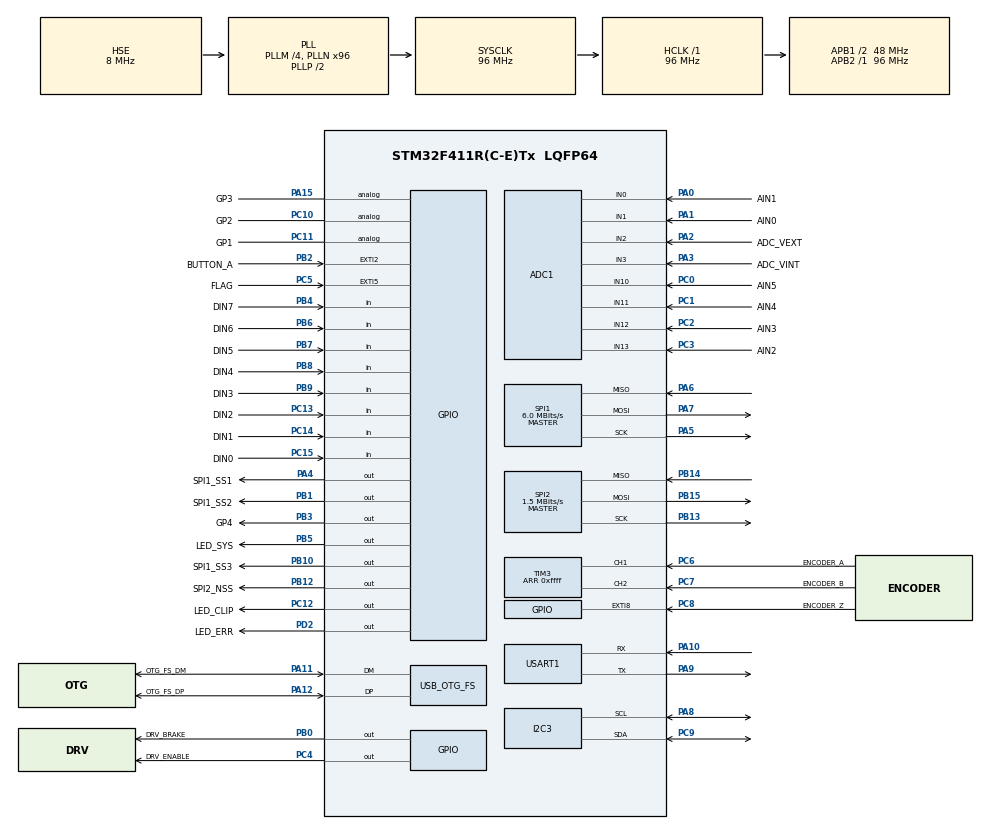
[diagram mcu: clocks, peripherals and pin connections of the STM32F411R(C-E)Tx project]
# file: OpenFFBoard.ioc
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ADC1.Channel-1\#ChannelRegularConversion=ADC_CHANNEL_1
ADC1.Channel-12\#ChannelRegularConversion=ADC_CHANNEL_TEMPSENSOR
ADC1.Channel-2\#ChannelRegularConversion=ADC_CHANNEL_0
ADC1.Channel-3\#ChannelRegularConversion=ADC_CHANNEL_13
ADC1.Channel-4\#ChannelRegularConversion=ADC_CHANNEL_12
ADC1.Channel-5\#ChannelRegularConversion=ADC_CHANNEL_11
ADC1.Channel-6\#ChannelRegularConversion=ADC_CHANNEL_10
ADC1.Channel-7\#ChannelRegularConversion=ADC_CHANNEL_2
ADC1.Channel-8\#ChannelRegularConversion=ADC_CHANNEL_3
ADC1.ContinuousConvMode=ENABLE
ADC1.DMAContinuousRequests=ENABLE
ADC1.InjNumberOfConversion=0
ADC1.NbrOfConversion=9
ADC1.Rank-1\#ChannelRegularConversion=1
ADC1.Rank-12\#ChannelRegularConversion=9
ADC1.Rank-2\#ChannelRegularConversion=2
ADC1.Rank-3\#ChannelRegularConversion=3
ADC1.Rank-4\#ChannelRegularConversion=4
ADC1.Rank-5\#ChannelRegularConversion=5
ADC1.Rank-6\#ChannelRegularConversion=6
ADC1.Rank-7\#ChannelRegularConversion=7
ADC1.Rank-8\#ChannelRegularConversion=8
ADC1.SamplingTime-1\#ChannelRegularConversion=ADC_SAMPLETIME_84CYCLES
ADC1.SamplingTime-12\#ChannelRegularConversion=ADC_SAMPLETIME_3CYCLES
ADC1.SamplingTime-2\#ChannelRegularConversion=ADC_SAMPLETIME_84CYCLES
ADC1.SamplingTime-3\#ChannelRegularConversion=ADC_SAMPLETIME_84CYCLES
ADC1.SamplingTime-4\#ChannelRegularConversion=ADC_SAMPLETIME_84CYCLES
ADC1.SamplingTime-5\#ChannelRegularConversion=ADC_SAMPLETIME_84CYCLES
ADC1.SamplingTime-6\#ChannelRegularConversion=ADC_SAMPLETIME_84CYCLES
ADC1.SamplingTime-7\#ChannelRegularConversion=ADC_SAMPLETIME_84CYCLES
ADC1.SamplingTime-8\#ChannelRegularConversion=ADC_SAMPLETIME_84CYCLES
ADC1.master=1
Dma.ADC1.0.Direction=DMA_PERIPH_TO_MEMORY
Dma.ADC1.0.FIFOMode=DMA_FIFOMODE_DISABLE
Dma.ADC1.0.Instance=DMA2_Stream0
Dma.ADC1.0.MemDataAlignment=DMA_MDATAALIGN_WORD
Dma.ADC1.0.MemInc=DMA_MINC_ENABLE
Dma.ADC1.0.Mode=DMA_CIRCULAR
Dma.ADC1.0.PeriphDataAlignment=DMA_PDATAALIGN_WORD
Dma.ADC1.0.PeriphInc=DMA_PINC_DISABLE
Dma.ADC1.0.Priority=DMA_PRIORITY_MEDIUM
Dma.Request0=ADC1
IWDG.Prescaler=IWDG_PRESCALER_16
Mcu.Family=STM32F4
Mcu.Name=STM32F411R(C-E)Tx
Mcu.Package=LQFP64
NVIC.ADC_IRQn=true\:1\:0\:true\:true\:true\:7\:true\:true
NVIC.DMA2_Stream0_IRQn=true\:0\:0\:true\:true\:true\:2\:false\:true
NVIC.EXTI2_IRQn=true\:14\:0\:true\:false\:true\:true\:true
NVIC.EXTI9_5_IRQn=true\:13\:0\:true\:true\:true\:6\:true\:true
NVIC.OTG_FS_IRQn=true\:11\:0\:true\:false\:true\:true\:true
NVIC.PriorityGroup=NVIC_PRIORITYGROUP_4
NVIC.TIM2_IRQn=true\:7\:0\:true\:true\:true\:5\:true\:true
NVIC.TIM3_IRQn=true\:4\:0\:true\:true\:true\:4\:true\:true
NVIC.TIM4_IRQn=true\:2\:0\:true\:true\:true\:3\:true\:true
NVIC.TIM5_IRQn=true\:8\:0\:true\:true\:true\:8\:true\:true
NVIC.USART1_IRQn=true\:6\:0\:true\:true\:true\:1\:true\:true
PA0-WKUP.GPIO_Label=AIN1
PA0-WKUP.Signal=ADCx_IN0
PA1.GPIO_Label=AIN0
PA1.Signal=ADCx_IN1
PA10.GPIO_PuPd=GPIO_PULLUP
PA10.Mode=Asynchronous
PA10.Signal=USART1_RX
PA11.GPIO_Label=OTG_FS_DM
PA11.Mode=Device_Only
PA11.Signal=USB_OTG_FS_DM
PA12.GPIO_Label=OTG_FS_DP
PA12.Mode=Device_Only
PA12.Signal=USB_OTG_FS_DP
PA13.GPIO_Label=SWDIO
PA13.Mode=Serial_Wire
PA13.Signal=SYS_JTMS-SWDIO
PA14.GPIO_Label=SWCLK
PA14.Mode=Serial_Wire
PA14.Signal=SYS_JTCK-SWCLK
PA15.GPIO_Label=GP3
PA15.Signal=GPIO_Analog
PA2.GPIO_Label=ADC_VEXT
PA2.Signal=ADCx_IN2
PA3.GPIO_Label=ADC_VINT
PA3.Signal=ADCx_IN3
PA4.GPIO_Label=SPI1_SS1
PA4.GPIO_Speed=GPIO_SPEED_FREQ_VERY_HIGH
PA4.PinState=GPIO_PIN_SET
PA4.Signal=GPIO_Output
PA5.Mode=Full_Duplex_Master
PA5.Signal=SPI1_SCK
PA6.GPIO_PuPd=GPIO_NOPULL
PA6.Mode=Full_Duplex_Master
PA6.Signal=SPI1_MISO
PA7.Mode=Full_Duplex_Master
PA7.Signal=SPI1_MOSI
PA8.Mode=I2C
PA8.Signal=I2C3_SCL
PA9.Mode=Asynchronous
PA9.Signal=USART1_TX
PB0.GPIO_Label=DRV_BRAKE
PB0.GPIO_PuPd=GPIO_NOPULL
PB0.GPIO_Speed=GPIO_SPEED_FREQ_MEDIUM
PB0.Signal=GPIO_Output
PB1.GPIO_Label=SPI1_SS2
PB1.GPIO_Speed=GPIO_SPEED_FREQ_VERY_HIGH
PB1.PinState=GPIO_PIN_SET
PB1.Signal=GPIO_Output
PB10.GPIO_Label=SPI1_SS3
PB10.GPIO_Speed=GPIO_SPEED_FREQ_VERY_HIGH
PB10.PinState=GPIO_PIN_SET
PB10.Signal=GPIO_Output
PB12.GPIO_Label=SPI2_NSS
PB12.GPIO_Speed=GPIO_SPEED_FREQ_HIGH
PB12.Signal=GPIO_Output
PB13.Mode=Full_Duplex_Master
PB13.Signal=SPI2_SCK
PB14.Mode=Full_Duplex_Master
PB14.Signal=SPI2_MISO
PB15.Mode=Full_Duplex_Master
PB15.Signal=SPI2_MOSI
PB2.GPIO_Label=BUTTON_A
PB2.Signal=GPXTI2
PB3.GPIO_Label=GP4
PB3.Signal=GPIO_Output
PB4.GPIO_Label=DIN7
PB4.GPIO_PuPd=GPIO_PULLUP
PB4.Signal=GPIO_Input
PB5.GPIO_Label=LED_SYS
PB5.Signal=GPIO_Output
PB6.GPIO_Label=DIN6
PB6.GPIO_PuPd=GPIO_PULLUP
PB6.Signal=GPIO_Input
PB7.GPIO_Label=DIN5
PB7.GPIO_PuPd=GPIO_PULLUP
PB7.Signal=GPIO_Input
PB8.GPIO_Label=DIN4
PB8.GPIO_PuPd=GPIO_PULLUP
PB8.Signal=GPIO_Input
PB9.GPIO_Label=DIN3
PB9.GPIO_PuPd=GPIO_PULLUP
PB9.Signal=GPIO_Input
PC0.GPIO_Label=AIN5
PC0.Signal=ADCx_IN10
PC1.GPIO_Label=AIN4
PC1.Signal=ADCx_IN11
PC10.GPIO_Label=GP2
PC10.Signal=GPIO_Analog
PC11.GPIO_Label=GP1
PC11.Signal=GPIO_Analog
PC12.GPIO_Label=LED_CLIP
PC12.Signal=GPIO_Output
PC13-ANTI_TAMP.GPIO_Label=DIN2
PC13-ANTI_TAMP.GPIO_PuPd=GPIO_PULLUP
PC13-ANTI_TAMP.Signal=GPIO_Input
PC14-OSC32_IN.GPIO_Label=DIN1
PC14-OSC32_IN.GPIO_PuPd=GPIO_PULLUP
PC14-OSC32_IN.Signal=GPIO_Input
PC15-OSC32_OUT.GPIO_Label=DIN0
PC15-OSC32_OUT.GPIO_PuPd=GPIO_PULLUP
PC15-OSC32_OUT.Signal=GPIO_Input
PC2.GPIO_Label=AIN3
PC2.Signal=ADCx_IN12
PC3.GPIO_Label=AIN2
PC3.Signal=ADCx_IN13
PC4.GPIO_Label=DRV_ENABLE
PC4.GPIO_PuPd=GPIO_NOPULL
PC4.Signal=GPIO_Output
PC5.GPIO_Label=FLAG
PC5.Signal=GPXTI5
PC6.GPIO_Label=ENCODER_A
PC6.GPIO_PuPd=GPIO_PULLUP
PC6.Signal=S_TIM3_CH1
PC7.GPIO_Label=ENCODER_B
PC7.GPIO_PuPd=GPIO_PULLUP
PC7.Signal=S_TIM3_CH2
PC8.GPIO_Label=ENCODER_Z
PC8.GPIO_PuPd=GPIO_PULLUP
PC8.Signal=GPXTI8
PC9.Mode=I2C
PC9.Signal=I2C3_SDA
PD2.GPIO_Label=LED_ERR
PD2.Signal=GPIO_Output
PH0\ -\ OSC_IN.Mode=HSE-External-Oscillator
PH0\ -\ OSC_IN.Signal=RCC_OSC_IN
PH1\ -\ OSC_OUT.Mode=HSE-External-Oscillator
PH1\ -\ OSC_OUT.Signal=RCC_OSC_OUT
ProjectManager.HeapSize=0x200
ProjectManager.StackSize=0x400
ProjectManager.TargetToolchain=STM32CubeIDE
RCC.48MHZClocksFreq_Value=48000000
RCC.AHBFreq_Value=96000000
RCC.APB1CLKDivider=RCC_HCLK_DIV2
RCC.APB1Freq_Value=48000000
RCC.APB1TimFreq_Value=96000000
RCC.APB2Freq_Value=96000000
RCC.APB2TimFreq_Value=96000000
RCC.CortexFreq_Value=96000000
RCC.HCLKFreq_Value=96000000
RCC.HSE_VALUE=8000000
RCC.HSI_VALUE=16000000
RCC.LSE_VALUE=32768
RCC.PLLM=4
RCC.PLLN=96
RCC.SYSCLKFreq_VALUE=96000000
RCC.SYSCLKSource=RCC_SYSCLKSOURCE_PLLCLK
RCC.VCOOutputFreq_Value=192000000
SH.ADCx_IN0.0=ADC1_IN0,IN0
SH.ADCx_IN1.0=ADC1_IN1,IN1
SH.ADCx_IN10.0=ADC1_IN10,IN10
SH.ADCx_IN11.0=ADC1_IN11,IN11
SH.ADCx_IN12.0=ADC1_IN12,IN12
SH.ADCx_IN13.0=ADC1_IN13,IN13
SH.ADCx_IN2.0=ADC1_IN2,IN2
SH.ADCx_IN3.0=ADC1_IN3,IN3
SH.S_TIM3_CH1.0=TIM3_CH1,Encoder_Interface
SH.S_TIM3_CH2.0=TIM3_CH2,Encoder_Interface
SPI1.BaudRatePrescaler=SPI_BAUDRATEPRESCALER_16
SPI1.CLKPhase=SPI_PHASE_2EDGE
SPI1.CLKPolarity=SPI_POLARITY_HIGH
SPI1.CalculateBaudRate=6.0 MBits/s
SPI1.DataSize=SPI_DATASIZE_8BIT
SPI1.Direction=SPI_DIRECTION_2LINES
SPI1.FirstBit=SPI_FIRSTBIT_MSB
SPI1.Mode=SPI_MODE_MASTER
SPI1.VirtualType=VM_MASTER
SPI2.BaudRatePrescaler=SPI_BAUDRATEPRESCALER_32
SPI2.CLKPhase=SPI_PHASE_1EDGE
SPI2.CLKPolarity=SPI_POLARITY_LOW
SPI2.CalculateBaudRate=1.5 MBits/s
SPI2.Direction=SPI_DIRECTION_2LINES
SPI2.FirstBit=SPI_FIRSTBIT_LSB
SPI2.Mode=SPI_MODE_MASTER
SPI2.VirtualType=VM_MASTER
TIM1.Period=0xffff
TIM1.Prescaler=96-1
TIM2.Period=500
TIM2.Prescaler=96-1
TIM3.CounterMode=TIM_COUNTERMODE_CENTERALIGNED1
TIM3.EncoderMode=TIM_ENCODERMODE_TI12
TIM3.Period=0xffff
TIM4.Period=0xffff
TIM4.Prescaler=96-1
TIM5.Period=0xffffffff
TIM5.Prescaler=96-1
USART1.VirtualMode=VM_ASYNC
USB_OTG_FS.Sof_enable=ENABLE
USB_OTG_FS.VirtualMode=Device_Only
USB_OTG_FS.lpm_enable=DISABLE
VP_ADC1_TempSens_Input.Mode=IN-TempSens
VP_IWDG_VS_IWDG.Mode=IWDG_Activate
VP_TIM1_VS_ClockSourceINT.Mode=Internal
VP_TIM2_VS_ClockSourceINT.Mode=Internal
VP_TIM4_VS_ClockSourceINT.Mode=Internal
VP_TIM5_VS_ClockSourceINT.Mode=Internal
board=custom

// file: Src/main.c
/* USER CODE BEGIN Header */
/**
  ******************************************************************************
  * @file           : main.c
  * @brief          : Main program body
  ******************************************************************************
  * @attention
  *
  * <h2><center>&copy; Copyright (c) 2020 STMicroelectronics.
  * All rights reserved.</center></h2>
  *
  * This software component is licensed by ST under BSD 3-Clause license,
  * the "License"; You may not use this file except in compliance with the
  * License. You may obtain a copy of the License at:
  *                        opensource.org/licenses/BSD-3-Clause
  *
  ******************************************************************************
  */
/* USER CODE END Header */

#include "main.h"

/* USER CODE BEGIN Includes */
#include "eeprom.h"
#include <cppmain.h>
#include "usb_device.h"
#include "stm32_hal_legacy.h"
#include "usbd_cdc_if.h"
/* USER CODE END Includes */

ADC_HandleTypeDef hadc1;
DMA_HandleTypeDef hdma_adc1;

I2C_HandleTypeDef hi2c3;

SPI_HandleTypeDef hspi1;
SPI_HandleTypeDef hspi2;

TIM_HandleTypeDef htim1;
TIM_HandleTypeDef htim2;
TIM_HandleTypeDef htim3;
TIM_HandleTypeDef htim4;
TIM_HandleTypeDef htim5;

UART_HandleTypeDef huart1;

//PCD_HandleTypeDef hpcd_USB_OTG_FS;

void SystemClock_Config(void);
static void MX_GPIO_Init(void);
static void MX_DMA_Init(void);
static void MX_TIM3_Init(void);
static void MX_ADC1_Init(void);
static void MX_TIM2_Init(void);
static void MX_TIM1_Init(void);
static void MX_USART1_UART_Init(void);
static void MX_SPI2_Init(void);
static void MX_TIM4_Init(void);
static void MX_TIM5_Init(void);
static void MX_I2C3_Init(void);
static void MX_SPI1_Init(void);
void MX_USB_OTG_FS_PCD_Init(void);
static void MX_NVIC_Init(void);
/* USER CODE BEGIN PFP */
uint32_t dfu_reset_to_bootloader_magic;
/* USER CODE END PFP */

/* USER CODE BEGIN 0 */
int _write(int file, char *ptr, int len)
{
  /* Implement your write code here, this is used by puts and printf for example. Only for infrequent debug messages */

  CDC_Transmit_FS(ptr, len);
  //HAL_UART_Transmit(&huart1, (uint8_t *)ptr, len, 100);

  return len;
}

/* USER CODE END 0 */

int main(void)
{

  /* MCU Configuration--------------------------------------------------------*/

  /* Reset of all peripherals, Initializes the Flash interface and the Systick. */
  HAL_Init();

  /* Configure the system clock */
  SystemClock_Config();

  /* Initialize all configured peripherals */
  MX_GPIO_Init();
  MX_DMA_Init();
  MX_TIM3_Init();
  MX_ADC1_Init();
  MX_TIM2_Init();
  MX_TIM1_Init();
  MX_USART1_UART_Init();
  MX_SPI2_Init();
  MX_TIM4_Init();
  MX_TIM5_Init();
  MX_I2C3_Init();
  MX_SPI1_Init();

  /* Initialize interrupts */
  MX_NVIC_Init();
  /* USER CODE BEGIN 2 */

  //Test leds
  HAL_GPIO_WritePin(LED_SYS_GPIO_Port, LED_SYS_Pin, GPIO_PIN_SET);
  HAL_GPIO_WritePin(LED_CLIP_GPIO_Port, LED_CLIP_Pin, GPIO_PIN_SET);
  HAL_GPIO_WritePin(LED_ERR_GPIO_Port, LED_ERR_Pin, GPIO_PIN_SET);
  HAL_Delay(100);

  // Flash init
  HAL_FLASH_Unlock();
  if( EE_Init() != EE_OK){
	Error_Handler();
  }
  HAL_FLASH_Lock();

  /* USER CODE END 2 */

  /* Infinite loop */
  /* USER CODE BEGIN WHILE */
  HAL_GPIO_WritePin(LED_ERR_GPIO_Port, LED_ERR_Pin, GPIO_PIN_RESET);
  HAL_GPIO_WritePin(LED_CLIP_GPIO_Port, LED_CLIP_Pin, GPIO_PIN_RESET);
  HAL_GPIO_WritePin(LED_SYS_GPIO_Port, LED_SYS_Pin, GPIO_PIN_RESET);
  while (1)
  {
	  cppmain();
    /* USER CODE END WHILE */

  }
}

void SystemClock_Config(void)
{
  RCC_OscInitTypeDef RCC_OscInitStruct = {0};
  RCC_ClkInitTypeDef RCC_ClkInitStruct = {0};

  /** Configure the main internal regulator output voltage
  */
  __HAL_RCC_PWR_CLK_ENABLE();
  __HAL_PWR_VOLTAGESCALING_CONFIG(PWR_REGULATOR_VOLTAGE_SCALE1);
  /** Initializes the CPU, AHB and APB busses clocks
  */
  RCC_OscInitStruct.OscillatorType = RCC_OSCILLATORTYPE_HSE;
  RCC_OscInitStruct.HSEState = RCC_HSE_ON;
  RCC_OscInitStruct.PLL.PLLState = RCC_PLL_ON;
  RCC_OscInitStruct.PLL.PLLSource = RCC_PLLSOURCE_HSE;
  RCC_OscInitStruct.PLL.PLLM = 4;
  RCC_OscInitStruct.PLL.PLLN = 96;
  RCC_OscInitStruct.PLL.PLLP = RCC_PLLP_DIV2;
  RCC_OscInitStruct.PLL.PLLQ = 4;
  if (HAL_RCC_OscConfig(&RCC_OscInitStruct) != HAL_OK)
  {
    Error_Handler();
  }
  /** Initializes the CPU, AHB and APB busses clocks
  */
  RCC_ClkInitStruct.ClockType = RCC_CLOCKTYPE_HCLK|RCC_CLOCKTYPE_SYSCLK
                              |RCC_CLOCKTYPE_PCLK1|RCC_CLOCKTYPE_PCLK2;
  RCC_ClkInitStruct.SYSCLKSource = RCC_SYSCLKSOURCE_PLLCLK;
  RCC_ClkInitStruct.AHBCLKDivider = RCC_SYSCLK_DIV1;
  RCC_ClkInitStruct.APB1CLKDivider = RCC_HCLK_DIV2;
  RCC_ClkInitStruct.APB2CLKDivider = RCC_HCLK_DIV1;

  if (HAL_RCC_ClockConfig(&RCC_ClkInitStruct, FLASH_LATENCY_3) != HAL_OK)
  {
    Error_Handler();
  }
}

/**
  * @brief NVIC Configuration.
  * @retval None
  */
static void MX_NVIC_Init(void)
{
  /* USART1_IRQn interrupt configuration */
  HAL_NVIC_SetPriority(USART1_IRQn, 6, 0);
  HAL_NVIC_EnableIRQ(USART1_IRQn);
  /* DMA2_Stream0_IRQn interrupt configuration */
  HAL_NVIC_SetPriority(DMA2_Stream0_IRQn, 0, 0);
  HAL_NVIC_EnableIRQ(DMA2_Stream0_IRQn);
  /* TIM4_IRQn interrupt configuration */
  HAL_NVIC_SetPriority(TIM4_IRQn, 2, 0);
  HAL_NVIC_EnableIRQ(TIM4_IRQn);
  /* TIM3_IRQn interrupt configuration */
  HAL_NVIC_SetPriority(TIM3_IRQn, 4, 0);
  HAL_NVIC_EnableIRQ(TIM3_IRQn);
  /* TIM2_IRQn interrupt configuration */
  HAL_NVIC_SetPriority(TIM2_IRQn, 7, 0);
  HAL_NVIC_EnableIRQ(TIM2_IRQn);
  /* EXTI9_5_IRQn interrupt configuration */
  HAL_NVIC_SetPriority(EXTI9_5_IRQn, 13, 0);
  HAL_NVIC_EnableIRQ(EXTI9_5_IRQn);
  /* ADC_IRQn interrupt configuration */
  HAL_NVIC_SetPriority(ADC_IRQn, 1, 0);
  HAL_NVIC_EnableIRQ(ADC_IRQn);
  /* TIM5_IRQn interrupt configuration */
  HAL_NVIC_SetPriority(TIM5_IRQn, 8, 0);
  HAL_NVIC_EnableIRQ(TIM5_IRQn);
}

static void MX_ADC1_Init(void)
{

  ADC_ChannelConfTypeDef sConfig = {0};

  /** Configure the global features of the ADC (Clock, Resolution, Data Alignment and number of conversion)
  */
  hadc1.Instance = ADC1;
  hadc1.Init.ClockPrescaler = ADC_CLOCK_SYNC_PCLK_DIV4;
  hadc1.Init.Resolution = ADC_RESOLUTION_12B;
  hadc1.Init.ScanConvMode = ENABLE;
  hadc1.Init.ContinuousConvMode = ENABLE;
  hadc1.Init.DiscontinuousConvMode = DISABLE;
  hadc1.Init.ExternalTrigConvEdge = ADC_EXTERNALTRIGCONVEDGE_NONE;
  hadc1.Init.ExternalTrigConv = ADC_SOFTWARE_START;
  hadc1.Init.DataAlign = ADC_DATAALIGN_RIGHT;
  hadc1.Init.NbrOfConversion = 9;
  hadc1.Init.DMAContinuousRequests = ENABLE;
  hadc1.Init.EOCSelection = ADC_EOC_SINGLE_CONV;
  if (HAL_ADC_Init(&hadc1) != HAL_OK)
  {
    Error_Handler();
  }
  /** Configure for the selected ADC regular channel its corresponding rank in the sequencer and its sample time.
  */
  sConfig.Channel = ADC_CHANNEL_1;
  sConfig.Rank = 1;
  sConfig.SamplingTime = ADC_SAMPLETIME_84CYCLES;
  if (HAL_ADC_ConfigChannel(&hadc1, &sConfig) != HAL_OK)
  {
    Error_Handler();
  }
  /** Configure for the selected ADC regular channel its corresponding rank in the sequencer and its sample time.
  */
  sConfig.Channel = ADC_CHANNEL_0;
  sConfig.Rank = 2;
  if (HAL_ADC_ConfigChannel(&hadc1, &sConfig) != HAL_OK)
  {
    Error_Handler();
  }
  /** Configure for the selected ADC regular channel its corresponding rank in the sequencer and its sample time.
  */
  sConfig.Channel = ADC_CHANNEL_13;
  sConfig.Rank = 3;
  if (HAL_ADC_ConfigChannel(&hadc1, &sConfig) != HAL_OK)
  {
    Error_Handler();
  }
  /** Configure for the selected ADC regular channel its corresponding rank in the sequencer and its sample time.
  */
  sConfig.Channel = ADC_CHANNEL_12;
  sConfig.Rank = 4;
  if (HAL_ADC_ConfigChannel(&hadc1, &sConfig) != HAL_OK)
  {
    Error_Handler();
  }
  /** Configure for the selected ADC regular channel its corresponding rank in the sequencer and its sample time.
  */
  sConfig.Channel = ADC_CHANNEL_11;
  sConfig.Rank = 5;
  if (HAL_ADC_ConfigChannel(&hadc1, &sConfig) != HAL_OK)
  {
    Error_Handler();
  }
  /** Configure for the selected ADC regular channel its corresponding rank in the sequencer and its sample time.
  */
  sConfig.Channel = ADC_CHANNEL_10;
  sConfig.Rank = 6;
  if (HAL_ADC_ConfigChannel(&hadc1, &sConfig) != HAL_OK)
  {
    Error_Handler();
  }
  /** Configure for the selected ADC regular channel its corresponding rank in the sequencer and its sample time.
  */
  sConfig.Channel = ADC_CHANNEL_2;
  sConfig.Rank = 7;
  if (HAL_ADC_ConfigChannel(&hadc1, &sConfig) != HAL_OK)
  {
    Error_Handler();
  }
  /** Configure for the selected ADC regular channel its corresponding rank in the sequencer and its sample time.
  */
  sConfig.Channel = ADC_CHANNEL_3;
  sConfig.Rank = 8;
  if (HAL_ADC_ConfigChannel(&hadc1, &sConfig) != HAL_OK)
  {
    Error_Handler();
  }
  /** Configure for the selected ADC regular channel its corresponding rank in the sequencer and its sample time.
  */
  sConfig.Channel = ADC_CHANNEL_TEMPSENSOR;
  sConfig.Rank = 9;
  sConfig.SamplingTime = ADC_SAMPLETIME_3CYCLES;
  if (HAL_ADC_ConfigChannel(&hadc1, &sConfig) != HAL_OK)
  {
    Error_Handler();
  }

}

static void MX_I2C3_Init(void)
{

  hi2c3.Instance = I2C3;
  hi2c3.Init.ClockSpeed = 100000;
  hi2c3.Init.DutyCycle = I2C_DUTYCYCLE_2;
  hi2c3.Init.OwnAddress1 = 0;
  hi2c3.Init.AddressingMode = I2C_ADDRESSINGMODE_7BIT;
  hi2c3.Init.DualAddressMode = I2C_DUALADDRESS_DISABLE;
  hi2c3.Init.OwnAddress2 = 0;
  hi2c3.Init.GeneralCallMode = I2C_GENERALCALL_DISABLE;
  hi2c3.Init.NoStretchMode = I2C_NOSTRETCH_DISABLE;
  if (HAL_I2C_Init(&hi2c3) != HAL_OK)
  {
    Error_Handler();
  }

}

static void MX_SPI1_Init(void)
{

  /* SPI1 parameter configuration*/
  hspi1.Instance = SPI1;
  hspi1.Init.Mode = SPI_MODE_MASTER;
  hspi1.Init.Direction = SPI_DIRECTION_2LINES;
  hspi1.Init.DataSize = SPI_DATASIZE_8BIT;
  hspi1.Init.CLKPolarity = SPI_POLARITY_HIGH;
  hspi1.Init.CLKPhase = SPI_PHASE_2EDGE;
  hspi1.Init.NSS = SPI_NSS_SOFT;
  hspi1.Init.BaudRatePrescaler = SPI_BAUDRATEPRESCALER_16;
  hspi1.Init.FirstBit = SPI_FIRSTBIT_MSB;
  hspi1.Init.TIMode = SPI_TIMODE_DISABLE;
  hspi1.Init.CRCCalculation = SPI_CRCCALCULATION_DISABLE;
  hspi1.Init.CRCPolynomial = 10;
  if (HAL_SPI_Init(&hspi1) != HAL_OK)
  {
    Error_Handler();
  }

}

static void MX_SPI2_Init(void)
{

  /* SPI2 parameter configuration*/
  hspi2.Instance = SPI2;
  hspi2.Init.Mode = SPI_MODE_MASTER;
  hspi2.Init.Direction = SPI_DIRECTION_2LINES;
  hspi2.Init.DataSize = SPI_DATASIZE_8BIT;
  hspi2.Init.CLKPolarity = SPI_POLARITY_LOW;
  hspi2.Init.CLKPhase = SPI_PHASE_1EDGE;
  hspi2.Init.NSS = SPI_NSS_SOFT;
  hspi2.Init.BaudRatePrescaler = SPI_BAUDRATEPRESCALER_32;
  hspi2.Init.FirstBit = SPI_FIRSTBIT_LSB;
  hspi2.Init.TIMode = SPI_TIMODE_DISABLE;
  hspi2.Init.CRCCalculation = SPI_CRCCALCULATION_DISABLE;
  hspi2.Init.CRCPolynomial = 10;
  if (HAL_SPI_Init(&hspi2) != HAL_OK)
  {
    Error_Handler();
  }

}

static void MX_TIM1_Init(void)
{

  TIM_ClockConfigTypeDef sClockSourceConfig = {0};
  TIM_MasterConfigTypeDef sMasterConfig = {0};

  htim1.Instance = TIM1;
  htim1.Init.Prescaler = 96-1;
  htim1.Init.CounterMode = TIM_COUNTERMODE_UP;
  htim1.Init.Period = 0xffff;
  htim1.Init.ClockDivision = TIM_CLOCKDIVISION_DIV1;
  htim1.Init.RepetitionCounter = 0;
  htim1.Init.AutoReloadPreload = TIM_AUTORELOAD_PRELOAD_DISABLE;
  if (HAL_TIM_Base_Init(&htim1) != HAL_OK)
  {
    Error_Handler();
  }
  sClockSourceConfig.ClockSource = TIM_CLOCKSOURCE_INTERNAL;
  if (HAL_TIM_ConfigClockSource(&htim1, &sClockSourceConfig) != HAL_OK)
  {
    Error_Handler();
  }
  sMasterConfig.MasterOutputTrigger = TIM_TRGO_RESET;
  sMasterConfig.MasterSlaveMode = TIM_MASTERSLAVEMODE_DISABLE;
  if (HAL_TIMEx_MasterConfigSynchronization(&htim1, &sMasterConfig) != HAL_OK)
  {
    Error_Handler();
  }

}

static void MX_TIM2_Init(void)
{

  TIM_ClockConfigTypeDef sClockSourceConfig = {0};
  TIM_MasterConfigTypeDef sMasterConfig = {0};

  htim2.Instance = TIM2;
  htim2.Init.Prescaler = 96-1;
  htim2.Init.CounterMode = TIM_COUNTERMODE_UP;
  htim2.Init.Period = 500;
  htim2.Init.ClockDivision = TIM_CLOCKDIVISION_DIV1;
  htim2.Init.AutoReloadPreload = TIM_AUTORELOAD_PRELOAD_DISABLE;
  if (HAL_TIM_Base_Init(&htim2) != HAL_OK)
  {
    Error_Handler();
  }
  sClockSourceConfig.ClockSource = TIM_CLOCKSOURCE_INTERNAL;
  if (HAL_TIM_ConfigClockSource(&htim2, &sClockSourceConfig) != HAL_OK)
  {
    Error_Handler();
  }
  sMasterConfig.MasterOutputTrigger = TIM_TRGO_RESET;
  sMasterConfig.MasterSlaveMode = TIM_MASTERSLAVEMODE_DISABLE;
  if (HAL_TIMEx_MasterConfigSynchronization(&htim2, &sMasterConfig) != HAL_OK)
  {
    Error_Handler();
  }

}

static void MX_TIM3_Init(void)
{

  TIM_Encoder_InitTypeDef sConfig = {0};
  TIM_MasterConfigTypeDef sMasterConfig = {0};

  htim3.Instance = TIM3;
  htim3.Init.Prescaler = 0;
  htim3.Init.CounterMode = TIM_COUNTERMODE_CENTERALIGNED1;
  htim3.Init.Period = 0xffff;
  htim3.Init.ClockDivision = TIM_CLOCKDIVISION_DIV1;
  htim3.Init.AutoReloadPreload = TIM_AUTORELOAD_PRELOAD_DISABLE;
  sConfig.EncoderMode = TIM_ENCODERMODE_TI12;
  sConfig.IC1Polarity = TIM_ICPOLARITY_RISING;
  sConfig.IC1Selection = TIM_ICSELECTION_DIRECTTI;
  sConfig.IC1Prescaler = TIM_ICPSC_DIV1;
  sConfig.IC1Filter = 0;
  sConfig.IC2Polarity = TIM_ICPOLARITY_RISING;
  sConfig.IC2Selection = TIM_ICSELECTION_DIRECTTI;
  sConfig.IC2Prescaler = TIM_ICPSC_DIV1;
  sConfig.IC2Filter = 0;
  if (HAL_TIM_Encoder_Init(&htim3, &sConfig) != HAL_OK)
  {
    Error_Handler();
  }
  sMasterConfig.MasterOutputTrigger = TIM_TRGO_RESET;
  sMasterConfig.MasterSlaveMode = TIM_MASTERSLAVEMODE_DISABLE;
  if (HAL_TIMEx_MasterConfigSynchronization(&htim3, &sMasterConfig) != HAL_OK)
  {
    Error_Handler();
  }

}

static void MX_TIM4_Init(void)
{

  TIM_ClockConfigTypeDef sClockSourceConfig = {0};
  TIM_MasterConfigTypeDef sMasterConfig = {0};

  htim4.Instance = TIM4;
  htim4.Init.Prescaler = 96-1;
  htim4.Init.CounterMode = TIM_COUNTERMODE_UP;
  htim4.Init.Period = 0xffff;
  htim4.Init.ClockDivision = TIM_CLOCKDIVISION_DIV1;
  htim4.Init.AutoReloadPreload = TIM_AUTORELOAD_PRELOAD_DISABLE;
  if (HAL_TIM_Base_Init(&htim4) != HAL_OK)
  {
    Error_Handler();
  }
  sClockSourceConfig.ClockSource = TIM_CLOCKSOURCE_INTERNAL;
  if (HAL_TIM_ConfigClockSource(&htim4, &sClockSourceConfig) != HAL_OK)
  {
    Error_Handler();
  }
  sMasterConfig.MasterOutputTrigger = TIM_TRGO_RESET;
  sMasterConfig.MasterSlaveMode = TIM_MASTERSLAVEMODE_DISABLE;
  if (HAL_TIMEx_MasterConfigSynchronization(&htim4, &sMasterConfig) != HAL_OK)
  {
    Error_Handler();
  }

}

static void MX_TIM5_Init(void)
{

  TIM_ClockConfigTypeDef sClockSourceConfig = {0};
  TIM_MasterConfigTypeDef sMasterConfig = {0};

  htim5.Instance = TIM5;
  htim5.Init.Prescaler = 96-1;
  htim5.Init.CounterMode = TIM_COUNTERMODE_UP;
  htim5.Init.Period = 0xffffffff;
  htim5.Init.ClockDivision = TIM_CLOCKDIVISION_DIV1;
  htim5.Init.AutoReloadPreload = TIM_AUTORELOAD_PRELOAD_DISABLE;
  if (HAL_TIM_Base_Init(&htim5) != HAL_OK)
  {
    Error_Handler();
  }
  sClockSourceConfig.ClockSource = TIM_CLOCKSOURCE_INTERNAL;
  if (HAL_TIM_ConfigClockSource(&htim5, &sClockSourceConfig) != HAL_OK)
  {
    Error_Handler();
  }
  sMasterConfig.MasterOutputTrigger = TIM_TRGO_RESET;
  sMasterConfig.MasterSlaveMode = TIM_MASTERSLAVEMODE_DISABLE;
  if (HAL_TIMEx_MasterConfigSynchronization(&htim5, &sMasterConfig) != HAL_OK)
  {
    Error_Handler();
  }

}

static void MX_USART1_UART_Init(void)
{

  huart1.Instance = USART1;
  huart1.Init.BaudRate = 115200;
  huart1.Init.WordLength = UART_WORDLENGTH_8B;
  huart1.Init.StopBits = UART_STOPBITS_1;
  huart1.Init.Parity = UART_PARITY_NONE;
  huart1.Init.Mode = UART_MODE_TX_RX;
  huart1.Init.HwFlowCtl = UART_HWCONTROL_NONE;
  huart1.Init.OverSampling = UART_OVERSAMPLING_16;
  if (HAL_UART_Init(&huart1) != HAL_OK)
  {
    Error_Handler();
  }

}

void MX_USB_OTG_FS_PCD_Init(void)
{

  /* USER CODE BEGIN USB_OTG_FS_Init 0 */
	// Handled by USBD_LL_Init in usb_conf.c
#if false
  /* USER CODE END USB_OTG_FS_Init 0 */

  hpcd_USB_OTG_FS.Instance = USB_OTG_FS;
  hpcd_USB_OTG_FS.Init.dev_endpoints = 4;
  hpcd_USB_OTG_FS.Init.speed = PCD_SPEED_FULL;
  hpcd_USB_OTG_FS.Init.dma_enable = DISABLE;
  hpcd_USB_OTG_FS.Init.phy_itface = PCD_PHY_EMBEDDED;
  hpcd_USB_OTG_FS.Init.Sof_enable = ENABLE;
  hpcd_USB_OTG_FS.Init.low_power_enable = DISABLE;
  hpcd_USB_OTG_FS.Init.lpm_enable = DISABLE;
  hpcd_USB_OTG_FS.Init.vbus_sensing_enable = DISABLE;
  hpcd_USB_OTG_FS.Init.use_dedicated_ep1 = DISABLE;
  if (HAL_PCD_Init(&hpcd_USB_OTG_FS) != HAL_OK)
  {
    Error_Handler();
  }
  /* USER CODE BEGIN USB_OTG_FS_Init 2 */
#endif
  /* USER CODE END USB_OTG_FS_Init 2 */

}

static void MX_DMA_Init(void)
{

  /* DMA controller clock enable */
  __HAL_RCC_DMA2_CLK_ENABLE();

}

static void MX_GPIO_Init(void)
{
  GPIO_InitTypeDef GPIO_InitStruct = {0};

  /* GPIO Ports Clock Enable */
  __HAL_RCC_GPIOC_CLK_ENABLE();
  __HAL_RCC_GPIOH_CLK_ENABLE();
  __HAL_RCC_GPIOA_CLK_ENABLE();
  __HAL_RCC_GPIOB_CLK_ENABLE();
  __HAL_RCC_GPIOD_CLK_ENABLE();

  /*Configure GPIO pin Output Level */
  HAL_GPIO_WritePin(SPI1_SS1_GPIO_Port, SPI1_SS1_Pin, GPIO_PIN_SET);

  /*Configure GPIO pin Output Level */
  HAL_GPIO_WritePin(GPIOC, DRV_ENABLE_Pin|LED_CLIP_Pin, GPIO_PIN_RESET);

  /*Configure GPIO pin Output Level */
  HAL_GPIO_WritePin(GPIOB, DRV_BRAKE_Pin|SPI2_NSS_Pin|GP4_Pin|LED_SYS_Pin, GPIO_PIN_RESET);

  /*Configure GPIO pin Output Level */
  HAL_GPIO_WritePin(GPIOB, SPI1_SS2_Pin|SPI1_SS3_Pin, GPIO_PIN_SET);

  /*Configure GPIO pin Output Level */
  HAL_GPIO_WritePin(LED_ERR_GPIO_Port, LED_ERR_Pin, GPIO_PIN_RESET);

  /*Configure GPIO pins : DIN2_Pin DIN1_Pin DIN0_Pin */
  GPIO_InitStruct.Pin = DIN2_Pin|DIN1_Pin|DIN0_Pin;
  GPIO_InitStruct.Mode = GPIO_MODE_INPUT;
  GPIO_InitStruct.Pull = GPIO_PULLUP;
  HAL_GPIO_Init(GPIOC, &GPIO_InitStruct);

  /*Configure GPIO pin : SPI1_SS1_Pin */
  GPIO_InitStruct.Pin = SPI1_SS1_Pin;
  GPIO_InitStruct.Mode = GPIO_MODE_OUTPUT_PP;
  GPIO_InitStruct.Pull = GPIO_NOPULL;
  GPIO_InitStruct.Speed = GPIO_SPEED_FREQ_VERY_HIGH;
  HAL_GPIO_Init(SPI1_SS1_GPIO_Port, &GPIO_InitStruct);

  /*Configure GPIO pins : DRV_ENABLE_Pin LED_CLIP_Pin */
  GPIO_InitStruct.Pin = DRV_ENABLE_Pin|LED_CLIP_Pin;
  GPIO_InitStruct.Mode = GPIO_MODE_OUTPUT_PP;
  GPIO_InitStruct.Pull = GPIO_NOPULL;
  GPIO_InitStruct.Speed = GPIO_SPEED_FREQ_LOW;
  HAL_GPIO_Init(GPIOC, &GPIO_InitStruct);

  /*Configure GPIO pin : FLAG_Pin */
  GPIO_InitStruct.Pin = FLAG_Pin;
  GPIO_InitStruct.Mode = GPIO_MODE_IT_RISING;
  GPIO_InitStruct.Pull = GPIO_NOPULL;
  HAL_GPIO_Init(FLAG_GPIO_Port, &GPIO_InitStruct);

  /*Configure GPIO pin : DRV_BRAKE_Pin */
  GPIO_InitStruct.Pin = DRV_BRAKE_Pin;
  GPIO_InitStruct.Mode = GPIO_MODE_OUTPUT_PP;
  GPIO_InitStruct.Pull = GPIO_NOPULL;
  GPIO_InitStruct.Speed = GPIO_SPEED_FREQ_MEDIUM;
  HAL_GPIO_Init(DRV_BRAKE_GPIO_Port, &GPIO_InitStruct);

  /*Configure GPIO pins : SPI1_SS2_Pin SPI1_SS3_Pin */
  GPIO_InitStruct.Pin = SPI1_SS2_Pin|SPI1_SS3_Pin;
  GPIO_InitStruct.Mode = GPIO_MODE_OUTPUT_PP;
  GPIO_InitStruct.Pull = GPIO_NOPULL;
  GPIO_InitStruct.Speed = GPIO_SPEED_FREQ_VERY_HIGH;
  HAL_GPIO_Init(GPIOB, &GPIO_InitStruct);

  /*Configure GPIO pin : BUTTON_A_Pin */
  GPIO_InitStruct.Pin = BUTTON_A_Pin;
  GPIO_InitStruct.Mode = GPIO_MODE_IT_RISING;
  GPIO_InitStruct.Pull = GPIO_NOPULL;
  HAL_GPIO_Init(BUTTON_A_GPIO_Port, &GPIO_InitStruct);

  /*Configure GPIO pin : SPI2_NSS_Pin */
  GPIO_InitStruct.Pin = SPI2_NSS_Pin;
  GPIO_InitStruct.Mode = GPIO_MODE_OUTPUT_PP;
  GPIO_InitStruct.Pull = GPIO_NOPULL;
  GPIO_InitStruct.Speed = GPIO_SPEED_FREQ_HIGH;
  HAL_GPIO_Init(SPI2_NSS_GPIO_Port, &GPIO_InitStruct);

  /*Configure GPIO pin : ENCODER_Z_Pin */
  GPIO_InitStruct.Pin = ENCODER_Z_Pin;
  GPIO_InitStruct.Mode = GPIO_MODE_IT_RISING;
  GPIO_InitStruct.Pull = GPIO_PULLUP;
  HAL_GPIO_Init(ENCODER_Z_GPIO_Port, &GPIO_InitStruct);

  /*Configure GPIO pin : GP3_Pin */
  GPIO_InitStruct.Pin = GP3_Pin;
  GPIO_InitStruct.Mode = GPIO_MODE_ANALOG;
  GPIO_InitStruct.Pull = GPIO_NOPULL;
  HAL_GPIO_Init(GP3_GPIO_Port, &GPIO_InitStruct);

  /*Configure GPIO pins : GP2_Pin GP1_Pin */
  GPIO_InitStruct.Pin = GP2_Pin|GP1_Pin;
  GPIO_InitStruct.Mode = GPIO_MODE_ANALOG;
  GPIO_InitStruct.Pull = GPIO_NOPULL;
  HAL_GPIO_Init(GPIOC, &GPIO_InitStruct);

  /*Configure GPIO pin : LED_ERR_Pin */
  GPIO_InitStruct.Pin = LED_ERR_Pin;
  GPIO_InitStruct.Mode = GPIO_MODE_OUTPUT_PP;
  GPIO_InitStruct.Pull = GPIO_NOPULL;
  GPIO_InitStruct.Speed = GPIO_SPEED_FREQ_LOW;
  HAL_GPIO_Init(LED_ERR_GPIO_Port, &GPIO_InitStruct);

  /*Configure GPIO pins : GP4_Pin LED_SYS_Pin */
  GPIO_InitStruct.Pin = GP4_Pin|LED_SYS_Pin;
  GPIO_InitStruct.Mode = GPIO_MODE_OUTPUT_PP;
  GPIO_InitStruct.Pull = GPIO_NOPULL;
  GPIO_InitStruct.Speed = GPIO_SPEED_FREQ_LOW;
  HAL_GPIO_Init(GPIOB, &GPIO_InitStruct);

  /*Configure GPIO pins : DIN7_Pin DIN6_Pin DIN5_Pin DIN4_Pin
                           DIN3_Pin */
  GPIO_InitStruct.Pin = DIN7_Pin|DIN6_Pin|DIN5_Pin|DIN4_Pin
                          |DIN3_Pin;
  GPIO_InitStruct.Mode = GPIO_MODE_INPUT;
  GPIO_InitStruct.Pull = GPIO_PULLUP;
  HAL_GPIO_Init(GPIOB, &GPIO_InitStruct);

  /* EXTI interrupt init*/
  HAL_NVIC_SetPriority(EXTI2_IRQn, 14, 0);
  HAL_NVIC_EnableIRQ(EXTI2_IRQn);

}

/* USER CODE BEGIN 4 */
void RebootDFU(void) {
	*((unsigned long *)0x2001FFF0) = 0xDEADBEEF; // End of RAM
	NVIC_SystemReset();
}
/* USER CODE END 4 */

void Error_Handler(void)
{
  /* USER CODE BEGIN Error_Handler_Debug */

	// Blink Error led quickly
	for(uint8_t i = 0; i< 10; i++){
		HAL_GPIO_WritePin(LED_ERR_GPIO_Port, LED_ERR_Pin, GPIO_PIN_SET);
		HAL_Delay(50);
		HAL_GPIO_WritePin(LED_ERR_GPIO_Port, LED_ERR_Pin, GPIO_PIN_RESET);
		HAL_Delay(50);
	}
  /* User can add his own implementation to report the HAL error return state */

  /* USER CODE END Error_Handler_Debug */
}

/************************ (C) COPYRIGHT STMicroelectronics *****END OF FILE****/
